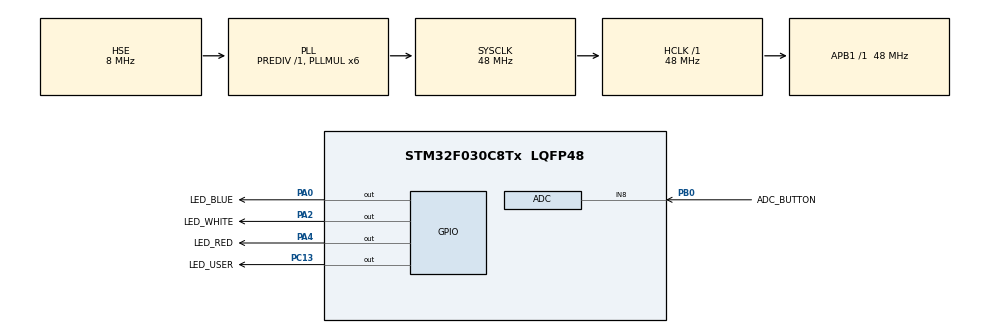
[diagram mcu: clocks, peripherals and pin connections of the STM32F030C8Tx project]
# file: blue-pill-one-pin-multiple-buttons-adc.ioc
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ADC.ContinuousConvMode=ENABLE
ADC.SamplingTime=ADC_SAMPLETIME_71CYCLES_5
Mcu.Family=STM32F0
Mcu.Name=STM32F030C8Tx
Mcu.Package=LQFP48
PA0.GPIO_Label=LED_BLUE
PA0.PinState=GPIO_PIN_SET
PA0.Signal=GPIO_Output
PA13.Mode=Serial_Wire
PA13.Signal=SYS_SWDIO
PA14.Mode=Serial_Wire
PA14.Signal=SYS_SWCLK
PA2.GPIO_Label=LED_WHITE
PA2.PinState=GPIO_PIN_SET
PA2.Signal=GPIO_Output
PA4.GPIO_Label=LED_RED
PA4.PinState=GPIO_PIN_SET
PA4.Signal=GPIO_Output
PB0.GPIO_Label=ADC_BUTTON
PB0.Mode=IN8
PB0.Signal=ADC_IN8
PC13.GPIO_Label=LED_USER
PC13.Signal=GPIO_Output
PF0-OSC_IN.Mode=HSE-External-Oscillator
PF0-OSC_IN.Signal=RCC_OSC_IN
PF1-OSC_OUT.Mode=HSE-External-Oscillator
PF1-OSC_OUT.Signal=RCC_OSC_OUT
ProjectManager.HeapSize=0x200
ProjectManager.StackSize=0x400
ProjectManager.TargetToolchain=MDK-ARM V5.32
RCC.AHBFreq_Value=48000000
RCC.APB1Freq_Value=48000000
RCC.APB1TimFreq_Value=48000000
RCC.HCLKFreq_Value=48000000
RCC.PLLMUL=RCC_PLL_MUL6
RCC.PLLSourceVirtual=RCC_PLLSOURCE_HSE
RCC.SYSCLKFreq_VALUE=48000000
RCC.SYSCLKSource=RCC_SYSCLKSOURCE_PLLCLK
board=custom

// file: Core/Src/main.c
/* USER CODE BEGIN Header */
/**
  ******************************************************************************
  * @file           : main.c
  * @brief          : Main program body
  ******************************************************************************
  * @attention
  *
  * Copyright (c) 2022 STMicroelectronics.
  * All rights reserved.
  *
  * This software is licensed under terms that can be found in the LICENSE file
  * in the root directory of this software component.
  * If no LICENSE file comes with this software, it is provided AS-IS.
  *
  ******************************************************************************
  */
/* USER CODE END Header */
#include "main.h"
#include "adc.h"
#include "gpio.h"

/* USER CODE BEGIN Includes */
#include "stdbool.h"
/* USER CODE END Includes */

/* USER CODE BEGIN PD */
#define BUTTON_VALUES_RANGES 50

#define BLACK_BUTTON_NOMINAL_VALUE 	3320
#define RED_BUTTON_NOMINAL_VALUE 		2755
#define WHITE_BUTTON_NOMINAL_VALUE 	1985
#define BLUE_BUTTON_NOMINAL_VALUE 	1248

#define SOFTWARE_CAPACITOR_RANGE 		150

/* USER CODE END PD */

/* USER CODE BEGIN PV */

volatile uint16_t adc_raw;

volatile uint8_t blue_button_software_capacitor;
volatile uint8_t white_button_software_capacitor;
volatile uint8_t red_button_software_capacitor;
volatile uint8_t black_button_software_capacitor;

volatile bool buttons_locked;

/* USER CODE END PV */

void SystemClock_Config(void);
/* USER CODE BEGIN PFP */
bool adc_button_range(uint16_t adc_raw_value, uint16_t BUTTON_NOMINAL_VALUE);
/* USER CODE END PFP */

int main(void)
{

  /* MCU Configuration--------------------------------------------------------*/

  /* Reset of all peripherals, Initializes the Flash interface and the Systick. */
  HAL_Init();

  /* Configure the system clock */
  SystemClock_Config();

  /* Initialize all configured peripherals */
  MX_GPIO_Init();
  MX_ADC_Init();
  /* USER CODE BEGIN 2 */
	HAL_ADC_Start(&hadc);

	blue_button_software_capacitor = 0;
  white_button_software_capacitor = 0;
	red_button_software_capacitor = 0;
	black_button_software_capacitor = 0;
	buttons_locked = false;
  /* USER CODE END 2 */

  /* Infinite loop */
  while (1)
  {

    /* USER CODE BEGIN 3 */

		adc_raw = HAL_ADC_GetValue(&hadc);

// ################################# BLUE ############################################

		if(adc_button_range(adc_raw, BLUE_BUTTON_NOMINAL_VALUE))
		{
			if(blue_button_software_capacitor < 250) blue_button_software_capacitor++;
		}
		else
		{
			if(blue_button_software_capacitor > 5) blue_button_software_capacitor--;
		}

// ################################# WHITE ############################################

		if(adc_button_range(adc_raw, WHITE_BUTTON_NOMINAL_VALUE))
		{
			if(white_button_software_capacitor < 250) white_button_software_capacitor++;
		}
		else
		{
			if(white_button_software_capacitor > 5) white_button_software_capacitor--;
		}

// ################################# RED ############################################

		if(adc_button_range(adc_raw, RED_BUTTON_NOMINAL_VALUE))
		{
			if(red_button_software_capacitor < 250) red_button_software_capacitor++;
		}
		else
		{
			if(red_button_software_capacitor > 5) red_button_software_capacitor--;
		}

// ################################# BLACK ############################################

		if(adc_button_range(adc_raw, BLACK_BUTTON_NOMINAL_VALUE))
		{
			if(black_button_software_capacitor < 250) black_button_software_capacitor++;
		}
		else
		{
			if(black_button_software_capacitor > 5) black_button_software_capacitor--;
		}

// ################################################################################################

// ################################# BLUE ############################################

		if(blue_button_software_capacitor > SOFTWARE_CAPACITOR_RANGE)
		{
			HAL_GPIO_WritePin(LED_BLUE_GPIO_Port, LED_BLUE_Pin, GPIO_PIN_RESET);
		}

// ################################# WHITE ############################################

		else if(white_button_software_capacitor > SOFTWARE_CAPACITOR_RANGE)
		{
			HAL_GPIO_WritePin(LED_WHITE_GPIO_Port, LED_WHITE_Pin, GPIO_PIN_RESET);
		}

// ################################# RED ############################################

		else if(red_button_software_capacitor > SOFTWARE_CAPACITOR_RANGE)
		{
			HAL_GPIO_WritePin(LED_RED_GPIO_Port, LED_RED_Pin, GPIO_PIN_RESET);
		}
// ################################# BLACK ############################################

		else if(black_button_software_capacitor > SOFTWARE_CAPACITOR_RANGE)
		{
			HAL_GPIO_WritePin(LED_BLUE_GPIO_Port, LED_BLUE_Pin, GPIO_PIN_RESET);
			HAL_GPIO_WritePin(LED_WHITE_GPIO_Port, LED_WHITE_Pin, GPIO_PIN_RESET);
			HAL_GPIO_WritePin(LED_RED_GPIO_Port, LED_RED_Pin, GPIO_PIN_RESET);
		}
		else
		{
			HAL_GPIO_WritePin(LED_BLUE_GPIO_Port, LED_BLUE_Pin, GPIO_PIN_SET);
			HAL_GPIO_WritePin(LED_WHITE_GPIO_Port, LED_WHITE_Pin, GPIO_PIN_SET);
			HAL_GPIO_WritePin(LED_RED_GPIO_Port, LED_RED_Pin, GPIO_PIN_SET);
		}

	}

  /* USER CODE END 3 */
}

void SystemClock_Config(void)
{
  RCC_OscInitTypeDef RCC_OscInitStruct = {0};
  RCC_ClkInitTypeDef RCC_ClkInitStruct = {0};

  /** Initializes the RCC Oscillators according to the specified parameters
  * in the RCC_OscInitTypeDef structure.
  */
  RCC_OscInitStruct.OscillatorType = RCC_OSCILLATORTYPE_HSI14|RCC_OSCILLATORTYPE_HSE;
  RCC_OscInitStruct.HSEState = RCC_HSE_ON;
  RCC_OscInitStruct.HSI14State = RCC_HSI14_ON;
  RCC_OscInitStruct.HSI14CalibrationValue = 16;
  RCC_OscInitStruct.PLL.PLLState = RCC_PLL_ON;
  RCC_OscInitStruct.PLL.PLLSource = RCC_PLLSOURCE_HSE;
  RCC_OscInitStruct.PLL.PLLMUL = RCC_PLL_MUL6;
  RCC_OscInitStruct.PLL.PREDIV = RCC_PREDIV_DIV1;
  if (HAL_RCC_OscConfig(&RCC_OscInitStruct) != HAL_OK)
  {
    Error_Handler();
  }
  /** Initializes the CPU, AHB and APB buses clocks
  */
  RCC_ClkInitStruct.ClockType = RCC_CLOCKTYPE_HCLK|RCC_CLOCKTYPE_SYSCLK
                              |RCC_CLOCKTYPE_PCLK1;
  RCC_ClkInitStruct.SYSCLKSource = RCC_SYSCLKSOURCE_PLLCLK;
  RCC_ClkInitStruct.AHBCLKDivider = RCC_SYSCLK_DIV1;
  RCC_ClkInitStruct.APB1CLKDivider = RCC_HCLK_DIV1;

  if (HAL_RCC_ClockConfig(&RCC_ClkInitStruct, FLASH_LATENCY_1) != HAL_OK)
  {
    Error_Handler();
  }
}

/* USER CODE BEGIN 4 */
bool adc_button_range(uint16_t adc_raw_value, uint16_t BUTTON_NOMINAL_VALUE)
{
	bool ret;
	ret = false;

	uint16_t LOW_RANGE, HIGH_RANGE;

	LOW_RANGE = BUTTON_NOMINAL_VALUE - BUTTON_VALUES_RANGES;
	HIGH_RANGE = BUTTON_NOMINAL_VALUE + BUTTON_VALUES_RANGES;

	if( (LOW_RANGE <= adc_raw_value) && (adc_raw_value <= HIGH_RANGE) ) ret = true;

	return ret;
}
/* USER CODE END 4 */

void Error_Handler(void)
{
  __disable_irq();
  while (1)
  {
  }
}
